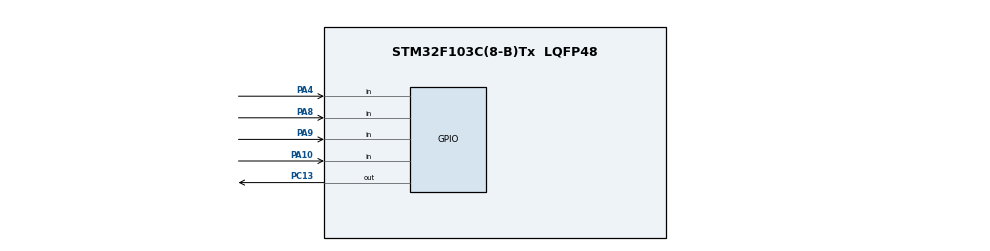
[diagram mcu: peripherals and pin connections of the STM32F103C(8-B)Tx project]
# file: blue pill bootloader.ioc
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Mcu.Family=STM32F1
Mcu.Name=STM32F103C(8-B)Tx
Mcu.Package=LQFP48
NVIC.PriorityGroup=NVIC_PRIORITYGROUP_4
NVIC.TIM2_IRQn=true\:0\:0\:false\:false\:true\:true\:true\:true
PA10.GPIO_PuPd=GPIO_PULLUP
PA10.Signal=GPIO_Input
PA13.Mode=Serial_Wire
PA13.Signal=SYS_JTMS-SWDIO
PA14.Mode=Serial_Wire
PA14.Signal=SYS_JTCK-SWCLK
PA4.GPIO_PuPd=GPIO_PULLUP
PA4.Signal=GPIO_Input
PA8.GPIO_PuPd=GPIO_PULLUP
PA8.Signal=GPIO_Input
PA9.GPIO_PuPd=GPIO_PULLUP
PA9.Signal=GPIO_Input
PC13-TAMPER-RTC.Signal=GPIO_Output
PD0-OSC_IN.Mode=HSE-External-Oscillator
PD0-OSC_IN.Signal=RCC_OSC_IN
PD1-OSC_OUT.Mode=HSE-External-Oscillator
PD1-OSC_OUT.Signal=RCC_OSC_OUT
ProjectManager.HeapSize=0x200
ProjectManager.StackSize=0x400
ProjectManager.TargetToolchain=STM32CubeIDE
RCC.APB1Freq_Value=8000000
RCC.APB2Freq_Value=8000000
RCC.PLLSourceVirtual=RCC_PLLSOURCE_HSE
RCC.USBFreq_Value=16000000
TIM2.Period=99
TIM2.Prescaler=7999
VP_TIM2_VS_ClockSourceINT.Mode=Internal
board=custom

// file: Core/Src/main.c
/* USER CODE BEGIN Header */
/**
  ******************************************************************************
  * @file           : main.c
  * @brief          : Main program body
  ******************************************************************************
  * @attention
  *
  * Copyright (c) 2025 STMicroelectronics.
  * All rights reserved.
  *
  * This software is licensed under terms that can be found in the LICENSE file
  * in the root directory of this software component.
  * If no LICENSE file comes with this software, it is provided AS-IS.
  *
  ******************************************************************************
  */
/* USER CODE END Header */
#include "main.h"

TIM_HandleTypeDef htim2;

/* USER CODE BEGIN PV */

int ledState = 0;

__attribute__( ( naked, noreturn ) ) void BootJumpASM( uint32_t SP, uint32_t RH )
{
  __asm("MSR      MSP,r0");
  __asm("BX       r1");
}

void jump_to_firmware(uint32_t * appAddress) {

	HAL_RCC_DeInit();
	HAL_DeInit();

    SysTick->CTRL = 0;
    SysTick->LOAD = 0;
    SysTick->VAL  = 0;

    if( CONTROL_SPSEL_Msk & __get_CONTROL( ) )
    {  /* MSP is not active */
      __set_MSP( __get_PSP( ) ) ;
      __set_CONTROL( __get_CONTROL( ) & ~CONTROL_SPSEL_Msk ) ;
    }

    SCB->VTOR = appAddress;

    BootJumpASM(appAddress[0], appAddress[1]);

}
/* USER CODE END PV */

void SystemClock_Config(void);
static void MX_GPIO_Init(void);
static void MX_TIM2_Init(void);

int main(void)
{

  /* MCU Configuration--------------------------------------------------------*/

  /* Reset of all peripherals, Initializes the Flash interface and the Systick. */
  HAL_Init();

  /* Configure the system clock */
  SystemClock_Config();

  /* Initialize all configured peripherals */
  MX_GPIO_Init();
  MX_TIM2_Init();
  /* USER CODE BEGIN 2 */

  uint8_t xinput_count = 0;
  uint8_t dinput_count = 0;
  uint8_t wireless_count = 0;
  uint8_t wirerx_count = 0;

  HAL_TIM_Base_Start_IT(&htim2);

  /* USER CODE END 2 */

  /* Infinite loop */
  /* USER CODE BEGIN WHILE */
  while (1)
  {

	  // Check 10 times, every 10 ms
	    for (int i = 0; i < 10; i++) {
	        if (HAL_GPIO_ReadPin(GPIOA, GPIO_PIN_8) == GPIO_PIN_RESET) {
	            xinput_count++;
	        }
	        if (HAL_GPIO_ReadPin(GPIOA, GPIO_PIN_9) == GPIO_PIN_RESET) {
	            dinput_count++;
	        }
	        if (HAL_GPIO_ReadPin(GPIOA, GPIO_PIN_10) == GPIO_PIN_RESET) {
	            wireless_count++;
	        }
	        if (HAL_GPIO_ReadPin(GPIOA, GPIO_PIN_4) == GPIO_PIN_RESET) {
	        	wirerx_count++;
	        }
	        HAL_Delay(10); // 10 ms delay
	    }

	    if (xinput_count >= 10) {
	        jump_to_firmware((uint32_t *)0x08002000);
	    }
	    else if (dinput_count >= 10) {
	        jump_to_firmware((uint32_t *)0x0800C000);
	    }
	    else if (wireless_count >= 10) {
	        jump_to_firmware((uint32_t *)0x08016000);
	    }
	    else if (wirerx_count >= 10){
	        jump_to_firmware((uint32_t *)0x0801B000);
	    }
    /* USER CODE END WHILE */

  }
}

void SystemClock_Config(void)
{
  RCC_OscInitTypeDef RCC_OscInitStruct = {0};
  RCC_ClkInitTypeDef RCC_ClkInitStruct = {0};

  /** Initializes the RCC Oscillators according to the specified parameters
  * in the RCC_OscInitTypeDef structure.
  */
  RCC_OscInitStruct.OscillatorType = RCC_OSCILLATORTYPE_HSI;
  RCC_OscInitStruct.HSIState = RCC_HSI_ON;
  RCC_OscInitStruct.HSICalibrationValue = RCC_HSICALIBRATION_DEFAULT;
  RCC_OscInitStruct.PLL.PLLState = RCC_PLL_NONE;
  if (HAL_RCC_OscConfig(&RCC_OscInitStruct) != HAL_OK)
  {
    Error_Handler();
  }

  /** Initializes the CPU, AHB and APB buses clocks
  */
  RCC_ClkInitStruct.ClockType = RCC_CLOCKTYPE_HCLK|RCC_CLOCKTYPE_SYSCLK
                              |RCC_CLOCKTYPE_PCLK1|RCC_CLOCKTYPE_PCLK2;
  RCC_ClkInitStruct.SYSCLKSource = RCC_SYSCLKSOURCE_HSI;
  RCC_ClkInitStruct.AHBCLKDivider = RCC_SYSCLK_DIV1;
  RCC_ClkInitStruct.APB1CLKDivider = RCC_HCLK_DIV1;
  RCC_ClkInitStruct.APB2CLKDivider = RCC_HCLK_DIV1;

  if (HAL_RCC_ClockConfig(&RCC_ClkInitStruct, FLASH_LATENCY_0) != HAL_OK)
  {
    Error_Handler();
  }
}

static void MX_TIM2_Init(void)
{

  TIM_ClockConfigTypeDef sClockSourceConfig = {0};
  TIM_MasterConfigTypeDef sMasterConfig = {0};

  htim2.Instance = TIM2;
  htim2.Init.Prescaler = 7999;
  htim2.Init.CounterMode = TIM_COUNTERMODE_UP;
  htim2.Init.Period = 99;
  htim2.Init.ClockDivision = TIM_CLOCKDIVISION_DIV1;
  htim2.Init.AutoReloadPreload = TIM_AUTORELOAD_PRELOAD_DISABLE;
  if (HAL_TIM_Base_Init(&htim2) != HAL_OK)
  {
    Error_Handler();
  }
  sClockSourceConfig.ClockSource = TIM_CLOCKSOURCE_INTERNAL;
  if (HAL_TIM_ConfigClockSource(&htim2, &sClockSourceConfig) != HAL_OK)
  {
    Error_Handler();
  }
  sMasterConfig.MasterOutputTrigger = TIM_TRGO_RESET;
  sMasterConfig.MasterSlaveMode = TIM_MASTERSLAVEMODE_DISABLE;
  if (HAL_TIMEx_MasterConfigSynchronization(&htim2, &sMasterConfig) != HAL_OK)
  {
    Error_Handler();
  }

}

static void MX_GPIO_Init(void)
{
  GPIO_InitTypeDef GPIO_InitStruct = {0};

  /* GPIO Ports Clock Enable */
  __HAL_RCC_GPIOC_CLK_ENABLE();
  __HAL_RCC_GPIOD_CLK_ENABLE();
  __HAL_RCC_GPIOA_CLK_ENABLE();

  /*Configure GPIO pin Output Level */
  HAL_GPIO_WritePin(GPIOC, GPIO_PIN_13, GPIO_PIN_RESET);

  /*Configure GPIO pin : PC13 */
  GPIO_InitStruct.Pin = GPIO_PIN_13;
  GPIO_InitStruct.Mode = GPIO_MODE_OUTPUT_PP;
  GPIO_InitStruct.Pull = GPIO_NOPULL;
  GPIO_InitStruct.Speed = GPIO_SPEED_FREQ_LOW;
  HAL_GPIO_Init(GPIOC, &GPIO_InitStruct);

  /*Configure GPIO pins : PA4 PA8 PA9 PA10 */
  GPIO_InitStruct.Pin = GPIO_PIN_4|GPIO_PIN_8|GPIO_PIN_9|GPIO_PIN_10;
  GPIO_InitStruct.Mode = GPIO_MODE_INPUT;
  GPIO_InitStruct.Pull = GPIO_PULLUP;
  HAL_GPIO_Init(GPIOA, &GPIO_InitStruct);

}

/* USER CODE BEGIN 4 */
void HAL_TIM_PeriodElapsedCallback(TIM_HandleTypeDef *htim)
{
    if (htim->Instance == TIM2)
    {
        HAL_GPIO_TogglePin(GPIOC, GPIO_PIN_13); // or your LED pin
    }
}
/* USER CODE END 4 */

void Error_Handler(void)
{
  __disable_irq();
  while (1)
  {
  }
}
